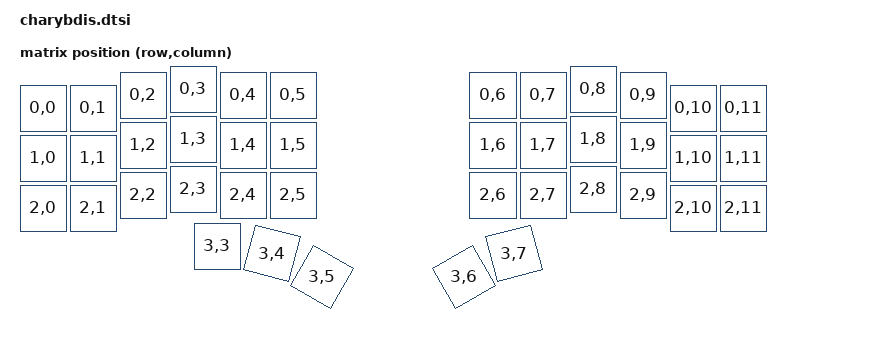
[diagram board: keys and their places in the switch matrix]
/*
 * Charybdis Mini 3x6 handwired - layout base
 *
 * 41 teclas: 3x6 por metade + 3 polegares na esquerda + 2 na direita.
 * A direita usa col-offset = <6>, então as colunas locais 0-5 viram 6-11.
 *
 * Posições do keymap:
 *   0-5    R0C0-R0C5 (esquerda)     6-11   R0C6-R0C11 (direita)
 *   12-17  R1C0-R1C5 (esquerda)     18-23  R1C6-R1C11 (direita)
 *   24-29  R2C0-R2C5 (esquerda)     30-35  R2C6-R2C11 (direita)
 *   36-38  R3C3-R3C5 (polegares esquerda)
 *   39-40  R3C6-R3C7 (polegares direita)
 */

#include <dt-bindings/zmk/matrix_transform.h>
#include <physical_layouts.dtsi>

/ {
    default_transform: keymap_transform_0 {
        compatible = "zmk,matrix-transform";
        columns = <12>;
        rows = <4>;

        map = <
RC(0,0) RC(0,1) RC(0,2) RC(0,3) RC(0,4) RC(0,5)  RC(0,6) RC(0,7) RC(0,8) RC(0,9) RC(0,10) RC(0,11)
RC(1,0) RC(1,1) RC(1,2) RC(1,3) RC(1,4) RC(1,5)  RC(1,6) RC(1,7) RC(1,8) RC(1,9) RC(1,10) RC(1,11)
RC(2,0) RC(2,1) RC(2,2) RC(2,3) RC(2,4) RC(2,5)  RC(2,6) RC(2,7) RC(2,8) RC(2,9) RC(2,10) RC(2,11)
                        RC(3,3) RC(3,4) RC(3,5)  RC(3,6) RC(3,7)
        >;
    };

    charybdis_physical_layout: charybdis_physical_layout {
        compatible = "zmk,physical-layout";
        display-name = "Charybdis Mini 3x6";
        transform = <&default_transform>;

        keys  //                     w   h    x    y     rot    rx    ry
            = <&key_physical_attrs 100 100    0   38       0     0     0>
            , <&key_physical_attrs 100 100  100   38       0     0     0>
            , <&key_physical_attrs 100 100  200   12       0     0     0>
            , <&key_physical_attrs 100 100  300    0       0     0     0>
            , <&key_physical_attrs 100 100  400   12       0     0     0>
            , <&key_physical_attrs 100 100  500   12       0     0     0>
            , <&key_physical_attrs 100 100  900   12       0     0     0>
            , <&key_physical_attrs 100 100 1000   12       0     0     0>
            , <&key_physical_attrs 100 100 1100    0       0     0     0>
            , <&key_physical_attrs 100 100 1200   12       0     0     0>
            , <&key_physical_attrs 100 100 1300   38       0     0     0>
            , <&key_physical_attrs 100 100 1400   38       0     0     0>
            , <&key_physical_attrs 100 100    0  138       0     0     0>
            , <&key_physical_attrs 100 100  100  138       0     0     0>
            , <&key_physical_attrs 100 100  200  112       0     0     0>
            , <&key_physical_attrs 100 100  300  100       0     0     0>
            , <&key_physical_attrs 100 100  400  112       0     0     0>
            , <&key_physical_attrs 100 100  500  112       0     0     0>
            , <&key_physical_attrs 100 100  900  112       0     0     0>
            , <&key_physical_attrs 100 100 1000  112       0     0     0>
            , <&key_physical_attrs 100 100 1100  100       0     0     0>
            , <&key_physical_attrs 100 100 1200  112       0     0     0>
            , <&key_physical_attrs 100 100 1300  138       0     0     0>
            , <&key_physical_attrs 100 100 1400  138       0     0     0>
            , <&key_physical_attrs 100 100    0  238       0     0     0>
            , <&key_physical_attrs 100 100  100  238       0     0     0>
            , <&key_physical_attrs 100 100  200  212       0     0     0>
            , <&key_physical_attrs 100 100  300  200       0     0     0>
            , <&key_physical_attrs 100 100  400  212       0     0     0>
            , <&key_physical_attrs 100 100  500  212       0     0     0>
            , <&key_physical_attrs 100 100  900  212       0     0     0>
            , <&key_physical_attrs 100 100 1000  212       0     0     0>
            , <&key_physical_attrs 100 100 1100  200       0     0     0>
            , <&key_physical_attrs 100 100 1200  212       0     0     0>
            , <&key_physical_attrs 100 100 1300  238       0     0     0>
            , <&key_physical_attrs 100 100 1400  238       0     0     0>
            , <&key_physical_attrs 100 100  348  314       0     0     0>
            , <&key_physical_attrs 100 100  348  314    1500   398   790>
            , <&key_physical_attrs 100 100  348  320    3000   398   790>
            , <&key_physical_attrs 100 100 1052  320 (-3000)  1102   790>
            , <&key_physical_attrs 100 100 1052  314 (-1500)  1102   790>
            ;
    };
};
